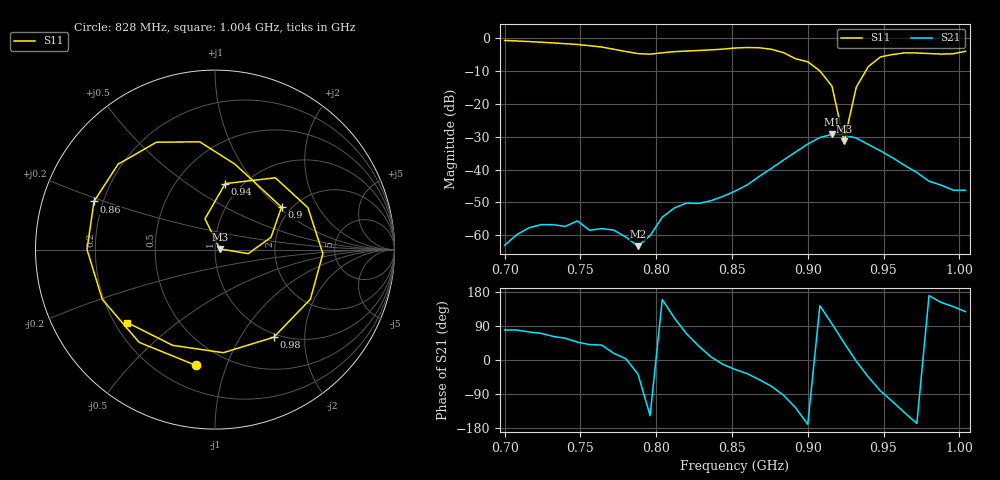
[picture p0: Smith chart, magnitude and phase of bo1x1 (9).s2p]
# Hz S RI R 50
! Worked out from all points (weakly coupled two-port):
!   39 points, 700 MHz to 1.004 GHz, reference 50 ohm
!   highest |S21| = -29.29 dB at 916 MHz (marker M1); lowest = -63.4 dB at 788 MHz (marker M2)
!   lowest |S11| = -31.4 dB at 924 MHz (marker M3), VSWR 1.06, Z = 52.7 + j0.409 ohm
!   |S11| at or under -10 dB: 908.1 MHz to 938.2 MHz (30.06 MHz wide, 3.26 % of centre)
!   S12 and S22 are empty: the file has one direction only
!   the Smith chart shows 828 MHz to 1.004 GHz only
!   S11 on the Smith chart (normalised r, x): 828 MHz: 0.35, -0.79; 860 MHz: 0.16, +0.19; 900 MHz: 1.79, +1.05; 940 MHz: 0.84, +0.72; 980 MHz: 0.95, -1.41; 1.004 GHz: 0.25, -0.34
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7e8  0.7484 0.552  0.000129 0.000687  0 0  0 0
7.24e8  0.8429 -0.2348  0.000487 0.00136  0 0  0 0
7.4e8  0.4596 -0.691  0.000732 0.00115  0 0  0 0
7.56e8  -0.1847 -0.7516  0.000899 0.000774  0 0  0 0
7.72e8  -0.6556 -0.1926  0.00114 0.000361  0 0  0 0
7.88e8  -0.2335 0.5374  0.000539 -0.000412  0 0  0 0
7.96e8  0.2509 0.5169  -0.000824 -0.000536  0 0  0 0
8.04e8  0.5796 0.1653  -0.00176 0.000659  0 0  0 0
8.12e8  0.5577 -0.2893  -0.000927 0.00243  0 0  0 0
8.28e8  -0.1062 -0.645  0.00243 0.00183  0 0  0 0
8.52e8  -0.7131 0.000255  0.00425 -0.00196  0 0  0 0
8.6e8  -0.6743 0.2684  0.00471 -0.00343  0 0  0 0
8.84e8  -0.0846 0.6003  -0.00071 -0.0139  0 0  0 0
9e8  0.3707 0.2363  -0.0241 -0.00428  0 0  0 0
9.08e8  0.3119 0.0684  -0.0247 0.0184  0 0  0 0
9.16e8  0.1851 -0.0224  -0.00314 0.0342  0 0  0 0
9.24e8  0.0265 0.00388  0.0239 0.0238  0 0  0 0
9.32e8  -0.0558 0.1716  0.0301 -0.00171  0 0  0 0
9.4e8  0.057 0.3678  0.017 -0.0171  0 0  0 0
9.56e8  0.5176 0.2335  -0.00515 -0.0142  0 0  0 0
9.8e8  0.3273 -0.4882  -0.00654 0.00118  0 0  0 0
1.004e9  -0.4878 -0.4069  -0.00295 0.00382  0 0  0 0
